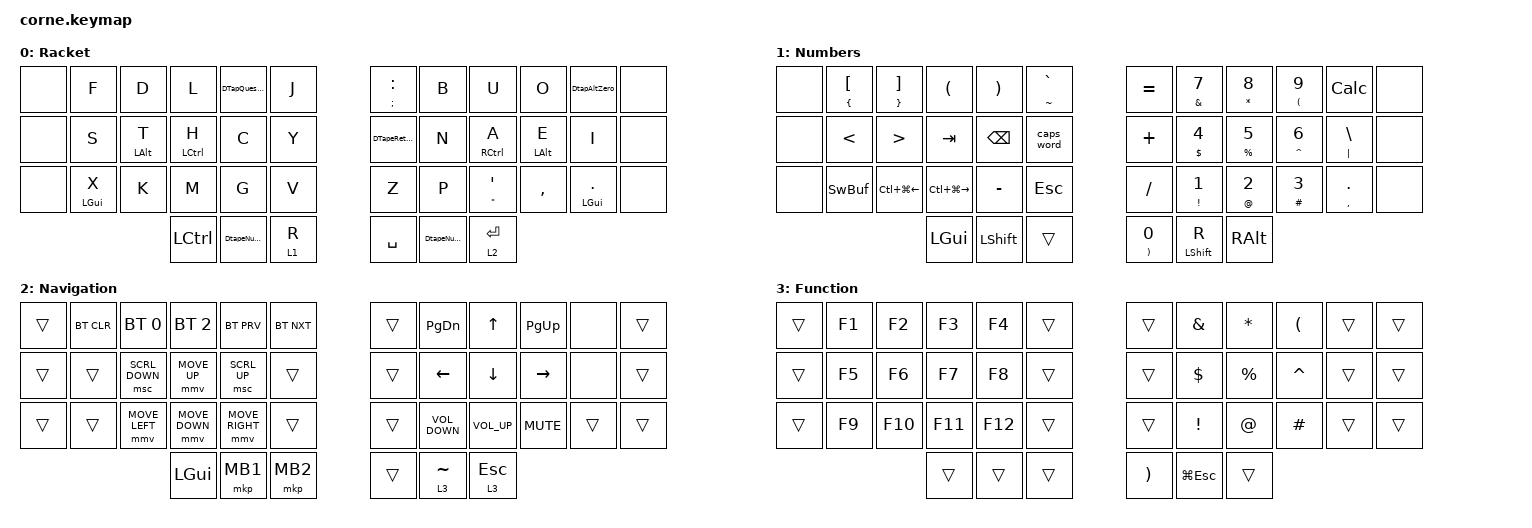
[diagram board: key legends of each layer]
/*
 * Copyright (c) 2020 The ZMK Contributors
 *
 * SPDX-License-Identifier: MIT
 */

#include <behaviors.dtsi>
#include <dt-bindings/zmk/bt.h>
#include <dt-bindings/zmk/keys.h>
#include <dt-bindings/zmk/pointing.h>

/ {
    behaviors {
        DTapQuestion: DTapQuestion {
            compatible = "zmk,behavior-tap-dance";
            label = "W-?";
            #binding-cells = <0>;
            bindings = <&kp W>, <&kp QUESTION>;
        };

        longPress: longPress {
            compatible = "zmk,behavior-hold-tap";
            label = "LONGPRESS";
            bindings = <&kp>, <&kp>;

            #binding-cells = <2>;
            tapping-term-ms = <350>;
            flavor = "tap-preferred";
        };

        hrL: hrL {
            compatible = "zmk,behavior-hold-tap";
            label = "HRL";
            bindings = <&kp>, <&kp>;

            #binding-cells = <2>;
            tapping-term-ms = <280>;
            hold-trigger-on-release;
            hold-trigger-key-positions = <6 7 8 9 10 11 18 19 20 21 22 23 30 31 32 33 34 35>;
            flavor = "balanced";
            quick-tap-ms = <175>;
            require-prior-idle-ms = <150>;
        };

        hrR: hrR {
            compatible = "zmk,behavior-hold-tap";
            label = "HRR";
            bindings = <&kp>, <&kp>;

            #binding-cells = <2>;
            tapping-term-ms = <280>;
            hold-trigger-on-release;
            flavor = "balanced";
            quick-tap-ms = <175>;
            require-prior-idle-ms = <150>;
            hold-trigger-key-positions = <0 1 2 3 4 5 12 13 14 15 16 17 24 25 26 27 28 29 37>;
        };

        DTapeReturn: DTapeReturn {
            compatible = "zmk,behavior-tap-dance";
            label = "DTAPERETURN";
            #binding-cells = <0>;
            bindings = <&kp Q>, <&kp RET>;
        };

        hrShiftL: hrShiftL {
            compatible = "zmk,behavior-hold-tap";
            label = "HRSHIFTL";
            bindings = <&kp>, <&kp>;

            #binding-cells = <2>;
            tapping-term-ms = <200>;
            hold-trigger-on-release;
            hold-trigger-key-positions = <6 7 8 9 10 11 18 19 20 21 22 23 30 31 32 33 34 35>;
            flavor = "balanced";
            quick-tap-ms = <175>;
            require-prior-idle-ms = <150>;
        };

        hrShiftR: hrShiftR {
            compatible = "zmk,behavior-hold-tap";
            label = "HRSHIFTR";
            bindings = <&kp>, <&kp>;

            #binding-cells = <2>;
            tapping-term-ms = <200>;
            hold-trigger-on-release;
            flavor = "balanced";
            quick-tap-ms = <175>;
            require-prior-idle-ms = <150>;
            hold-trigger-key-positions = <0 1 2 3 4 5 12 13 14 15 16 17 24 25 26 27 28 29 37>;
        };

        DtapeNumShift: DtapeNumShift {
            compatible = "zmk,behavior-tap-dance";
            label = "DTAPENUMSHIFT";
            #binding-cells = <0>;
            bindings = <&sk LEFT_SHIFT>, <&sl 3>;
        };

        DtapAltZero: DtapAltZero {
            compatible = "zmk,behavior-tap-dance";
            #binding-cells = <0>;
            bindings = <&kp SLASH>, <&kp LA(N0)>;
        };
    };

    macros {
        SwBuf: SwBuf {
            compatible = "zmk,behavior-macro";
            #binding-cells = <0>;
            bindings = <&kp LC(X) &kp O>;
            label = "SWBUF";
        };

        Calc: Calc {
            compatible = "zmk,behavior-macro";
            #binding-cells = <0>;
            bindings = <&kp LC(X) &kp ASTERISK &kp ASTERISK>;
            label = "CALC";
        };
    };

    combos {
        compatible = "zmk,combos";

        combo-enter {
            bindings = <&kp RET>;
            key-positions = <38 15>;
        };

        comboReturn2 {
            bindings = <&kp RET>;
            key-positions = <31 32>;
        };

        dash {
            bindings = <&kp MINUS>;
            key-positions = <28 27>;
        };

        Question {
            bindings = <&kp QUESTION>;
            key-positions = <4 3>;
        };

        DoubleQuote {
            bindings = <&kp DOUBLE_QUOTES>;
            key-positions = <32 33>;
        };

        SemiColon {
            bindings = <&kp SEMICOLON>;
            key-positions = <6 11>;
        };

        Semi {
            bindings = <&kp SEMICOLON>;
            key-positions = <18 7>;
        };

        ShiftNum {
            bindings = <&sl 3>;
            key-positions = <37 36>;
        };
    };

    keymap {
        compatible = "zmk,keymap";

        default_layer {
            // -----------------------------------------------------------------------------------------
            // |  TAB |  Q  |  W  |  E  |  R  |  T  |   |  Y  |  U   |  I  |  O  |  P  | BKSP |
            // | CTRL |  A  |  S  |  D  |  F  |  G  |   |  H  |  J   |  K  |  L  |  ;  |  '   |
            // | SHFT |  Z  |  X  |  C  |  V  |  B  |   |  N  |  M   |  ,  |  .  |  /  | ESC  |
            //                    | GUI | LWR | SPC |   | ENT | RSE  | ALT |

            display-name = "Racket";
            bindings = <
&none  &kp F            &kp D            &kp L             &DTapQuestion   &kp J      &longPress SEMICOLON COLON  &kp B           &kp U                         &kp O            &DtapAltZero          &none
&none  &kp S            &hrL LEFT_ALT T  &hrL LCTRL H      &kp C           &kp Y      &DTapeReturn                &kp N           &hrR RCTRL A                  &hrR LEFT_ALT E  &kp I                 &none
&none  &hrL LEFT_GUI X  &kp K            &kp M             &kp G           &kp V      &kp Z                       &kp P           &longPress DOUBLE_QUOTES SQT  &kp COMMA        &hrR LEFT_GUI PERIOD  &none
                                         &kp LEFT_CONTROL  &DtapeNumShift  &lt 1 R    &kp SPACE                   &DtapeNumShift  &lt 2 ENTER
            >;
        };

        Numbers {
            // -----------------------------------------------------------------------------------------
            // |  TAB |  1  |  2  |  3  |  4  |  5  |   |  6  |  7  |  8  |  9  |  0  | BKSP |
            // | BTCLR| BT1 | BT2 | BT3 | BT4 | BT5 |   | LFT | DWN |  UP | RGT |     |      |
            // | SHFT |     |     |     |     |     |   |     |     |     |     |     |      |
            //                    | GUI |     | SPC |   | ENT |     | ALT |

            display-name = "Numbers";
            bindings = <
&none  &longPress LEFT_BRACE LEFT_BRACKET  &longPress RIGHT_BRACE RIGHT_BRACKET  &kp LEFT_PARENTHESIS  &kp RIGHT_PARENTHESIS  &longPress TILDE GRAVE    &kp EQUAL                        &longPress AMPERSAND N7     &longPress ASTERISK N8       &longPress LEFT_PARENTHESIS N9  &Calc                      &none
&none  &kp LESS_THAN                       &kp GREATER_THAN                      &kp TAB               &kp BACKSPACE          &caps_word                &kp PLUS                         &longPress DOLLAR NUMBER_4  &longPress PERCENT N5        &longPress CARET NUMBER_6       &longPress PIPE BACKSLASH  &none
&none  &SwBuf                              &kp LC(LG(LEFT))                      &kp LC(LG(RIGHT))     &kp MINUS              &kp ESCAPE                &kp SLASH                        &longPress EXCLAMATION N1   &longPress AT_SIGN NUMBER_2  &longPress HASH NUMBER_3        &longPress COMMA PERIOD    &none
                                                                                 &kp LGUI              &kp LEFT_SHIFT         &trans                    &longPress RIGHT_PARENTHESIS N0  &longPress LEFT_SHIFT R     &kp RALT
            >;
        };

        Navigation {
            // -----------------------------------------------------------------------------------------
            // |  TAB |  !  |  @  |  #  |  $  |  %  |   |  ^  |  &  |  *  |  (  |  )  | BKSP |
            // | CTRL |     |     |     |     |     |   |  -  |  =  |  [  |  ]  |  \  |  `   |
            // | SHFT |     |     |     |     |     |   |  _  |  +  |  {  |  }  | "|" |  ~   |
            //                    | GUI |     | SPC |   | ENT |     | ALT |

            display-name = "Navigation";
            bindings = <
&trans  &bt BT_CLR  &bt BT_SEL 0    &bt BT_SEL 2    &bt BT_PRV       &bt BT_NXT    &trans  &kp PAGE_DOWN      &kp UP_ARROW     &kp PG_UP   &none   &trans
&trans  &trans      &msc SCRL_DOWN  &mmv MOVE_UP    &msc SCRL_UP     &trans        &trans  &kp LEFT           &kp DOWN         &kp RIGHT   &none   &trans
&trans  &trans      &mmv MOVE_LEFT  &mmv MOVE_DOWN  &mmv MOVE_RIGHT  &trans        &trans  &kp C_VOLUME_DOWN  &kp C_VOLUME_UP  &kp K_MUTE  &trans  &trans
                                    &kp LGUI        &mkp MB1         &mkp MB2      &trans  &lt 3 TILDE        &lt 3 ESCAPE
            >;
        };

        Function {
            bindings = <
&trans  &kp F1  &kp F2   &kp F3   &kp F4   &trans    &trans                 &kp AMPERSAND    &kp ASTERISK  &kp LEFT_PARENTHESIS  &trans  &trans
&trans  &kp F5  &kp F6   &kp F7   &kp F8   &trans    &trans                 &kp DOLLAR       &kp PERCENT   &kp CARET             &trans  &trans
&trans  &kp F9  &kp F10  &kp F11  &kp F12  &trans    &trans                 &kp EXCLAMATION  &kp AT_SIGN   &kp HASH              &trans  &trans
                         &trans   &trans   &trans    &kp RIGHT_PARENTHESIS  &kp LG(ESCAPE)   &trans
            >;
        };
    };
};
